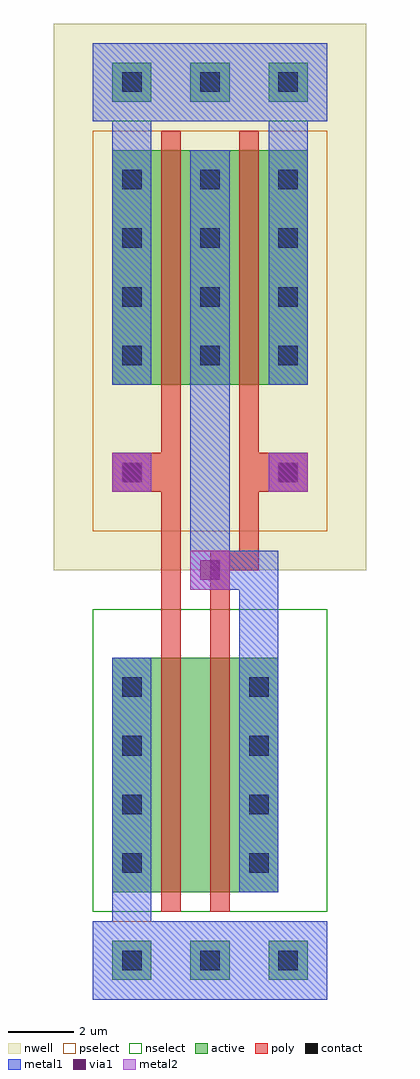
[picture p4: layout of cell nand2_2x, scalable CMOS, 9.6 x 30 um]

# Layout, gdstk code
import gdstk
lib = gdstk.Library(unit=1e-6, precision=1e-09)
def R(c, l, rs):  # rectangles x0, y0, x1, y1
    for r in rs: c.add(gdstk.rectangle(r[:2], r[2:], *l))
def A(c, l, x, y, w, h, nx, ny, dx, dy):  # array of equal rectangles
    R(c, l, [(x+i*dx, y+j*dy, x+i*dx+w, y+j*dy+h) for i in range(nx) for j in range(ny)])
def P(c, l, *ps):  # polygons
    for p in ps: c.add(gdstk.Polygon(p, *l))
contact = (25, 0)
nwell = (42, 0)
active = (43, 0)
pselect = (44, 0)
nselect = (45, 0)
poly = (46, 0)
metal1 = (49, 0)
via1 = (50, 0)
metal2 = (51, 0)

nand2_2x = lib.new_cell('nand2_2x')
A(nand2_2x, contact, 0.9, -0.3, 0.6, 0.6, 3, 2, 2.4, 18.6)
A(nand2_2x, contact, 0.9, 2.7, 0.6, 0.6, 1, 4, 0, 1.8)
A(nand2_2x, contact, 4.8, 2.7, 0.6, 0.6, 1, 4, 0, 1.8)
A(nand2_2x, contact, 0.9, 20.1, 0.6, 0.6, 3, 3, 2.4, 1.8)
A(nand2_2x, contact, 0.9, 26.7, 0.6, 0.6, 3, 1, 2.4, 0)
R(nand2_2x, contact, [(0.9,14.7,1.5,15.3), (5.7,14.7,6.3,15.3)])
R(nand2_2x, nwell, [(-1.2,12,8.4,28.8)])
A(nand2_2x, active, 0.6, -0.6, 1.2, 1.2, 3, 2, 2.4, 27)
R(nand2_2x, active, [(0.6,2.1,5.7,9.3), (0.6,17.7,6.6,24.9)])
R(nand2_2x, pselect, [(0,-1.2,7.2,1.2), (0,13.2,7.2,25.5)])
R(nand2_2x, nselect, [(0,1.5,7.2,10.8), (0,25.8,7.2,28.2)])
P(nand2_2x, poly, [(2.7,25.5),(2.1,25.5),(2.1,15.6),(0.6,15.6),(0.6,14.4),(2.1,14.4),(2.1,1.5),(2.7,1.5)],
  [(6.6,15.6),(5.1,15.6),(5.1,25.5),(4.5,25.5),(4.5,12.6),(3.6,12.6),(3.6,1.5),(4.2,1.5),(4.2,12),(5.1,12),(5.1,14.4),(6.6,14.4)])
R(nand2_2x, metal1, [(0,-1.2,7.2,1.2), (0.6,14.4,1.8,15.6), (5.4,14.4,6.6,15.6), (0,25.8,7.2,28.2)])
P(nand2_2x, metal1, [(5.7,12.6),(4.2,12.6),(4.2,24.9),(3,24.9),(3,11.4),(4.5,11.4),(4.5,2.1),(5.7,2.1)],
  [(7.2,28.2),(0,28.2),(0,25.8),(0.6,25.8),(0.6,17.7),(1.8,17.7),(1.8,25.8),(5.4,25.8),(5.4,17.7),(6.6,17.7),(6.6,25.8),(7.2,25.8)],
  [(7.2,1.2),(1.8,1.2),(1.8,9.3),(0.6,9.3),(0.6,1.2),(0,1.2),(0,-1.2),(7.2,-1.2)])
R(nand2_2x, via1, [(3.3,11.7,3.9,12.3), (0.9,14.7,1.5,15.3), (5.7,14.7,6.3,15.3)])
R(nand2_2x, metal2, [(3,11.4,4.2,12.6), (3,11.4,4.2,12.6), (0.6,14.4,1.8,15.6), (0.6,14.4,1.8,15.6), (5.4,14.4,6.6,15.6), (5.4,14.4,6.6,15.6)])

lib.write_gds('nand2_2x.gds')
